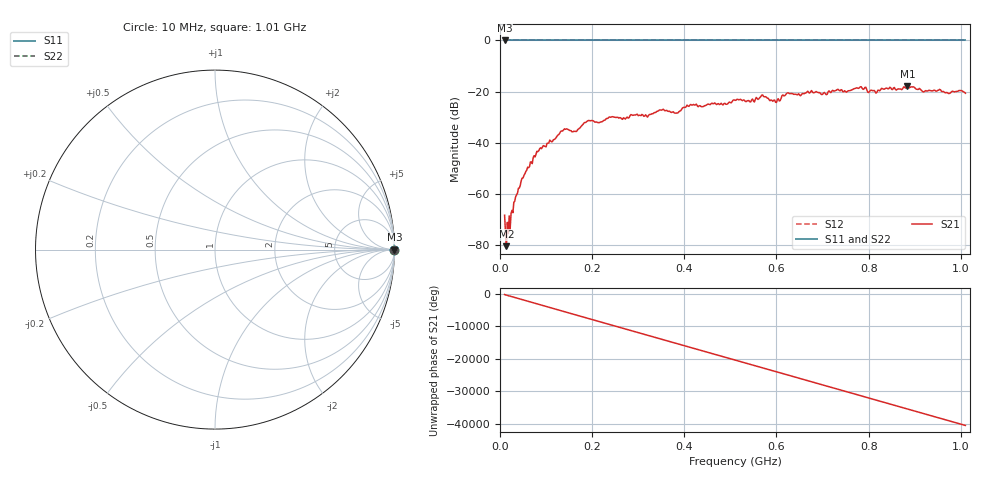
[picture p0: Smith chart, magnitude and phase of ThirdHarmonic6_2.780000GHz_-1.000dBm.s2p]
! 8/17/2025 7:07:38 AM
! C:\ANRITSUVNA\TEMP\TEMP.S2P
! CHANNEL.1
! TR.MEASUREMENT
! RAW.DATA
! RF.CORRECTION.OFF
! AVERAGING.OFF
! IF.BANDWIDTH: 5KHZ
! SWEEPTYPE:  FREQ.SWEEP(Linear)
! Reference Plane Port Info
! PORT:  PORT1  PORT2
! DISTANCE:  0  m  0  m
! TIME:  0  s  0  s
! PHASE.OFFSET:  0  deg.  0  deg.
! LOSS:  0  dB  0  dB
! REF.LOSS:  0  dB  0  dB
! REF.FREQ:  0  Hz  0  Hz
! Power Info
! POWER:  -20  dBm  -20  dBm
! EFF.POWER:  -20  dBm  -20  dBm
! SOURCE.ATTEN:  0  dB  0  dB
! TEST.ATTEN:  0  dB  0  dB
# GHZ S RI R 50.0
! FREQ.GHZ  S11RE  S11IM  S21RE  S21IM  S12RE  S12IM  S22RE  S22IM
!; PortSelection: Port_12
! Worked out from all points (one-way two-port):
!   501 points, 10 MHz to 1.01 GHz, reference 50 ohm
!   highest |S21| = -18.03 dB at 884 MHz (marker M1); lowest = -80.5 dB at 14 MHz (marker M2)
!   lowest |S11| = 0.0 dB at 10 MHz (marker M3)
!   |S11| at or under -10 dB: nowhere
!   |S22| runs from 0.0 to 0.0 dB; largest |S21 - S12| = 1.1
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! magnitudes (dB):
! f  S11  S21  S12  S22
! 10 MHz  0.0  -68.4  0.0  0.0
! 14 MHz  0.0  -80.5  0.0  0.0
! 18 MHz  0.0  -75.6  0.0  0.0
! 34 MHz  0.0  -61.1  0.0  0.0
! 50 MHz  0.0  -53.8  0.0  0.0
! 84 MHz  0.0  -43.2  0.0  0.0
! 136 MHz  0.0  -35.4  0.0  0.0
! 162 MHz  0.0  -35.6  0.0  0.0
! 178 MHz  0.0  -33.3  0.0  0.0
! 194 MHz  0.0  -31.4  0.0  0.0
! 318 MHz  0.0  -29.6  0.0  0.0
! 344 MHz  0.0  -27.5  0.0  0.0
! 382 MHz  0.0  -28.5  0.0  0.0
! 410 MHz  0.0  -25.8  0.0  0.0
! 510 MHz  0.0  -23.5  0.0  0.0
! 572 MHz  0.0  -21.9  0.0  0.0
! 596 MHz  0.0  -23.3  0.0  0.0
! 624 MHz  0.0  -20.5  0.0  0.0
! 678 MHz  0.0  -20.2  0.0  0.0
! 844 MHz  0.0  -18.8  0.0  0.0
! 884 MHz  0.0  -18.0  0.0  0.0
! 1.01 GHz  0.0  -20.7  0.0  0.0
